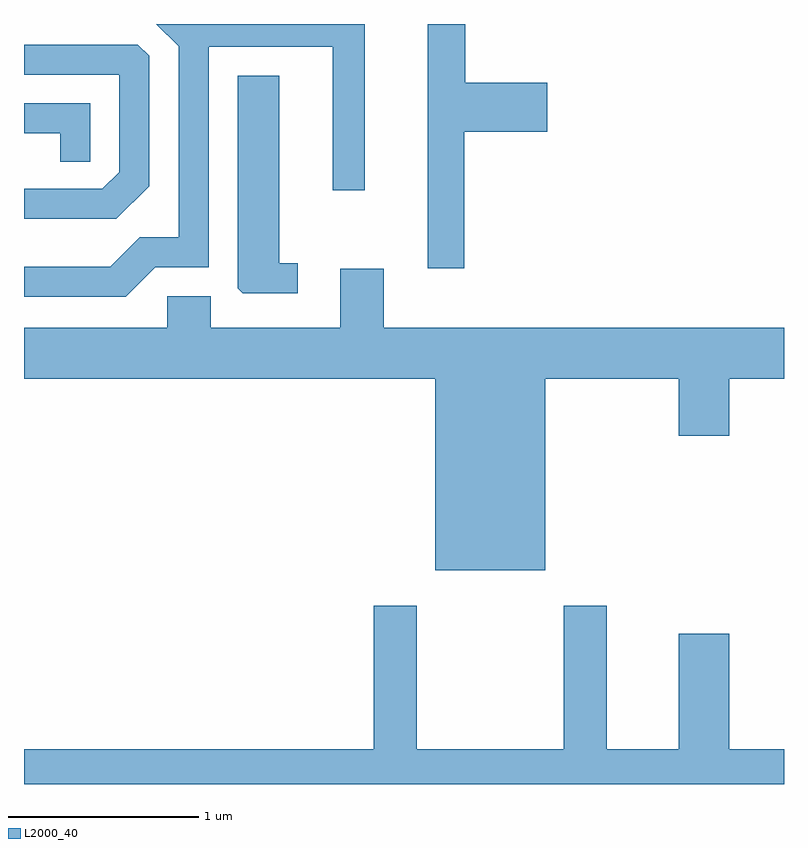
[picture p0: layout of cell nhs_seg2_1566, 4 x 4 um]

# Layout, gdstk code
import gdstk
lib = gdstk.Library(unit=1e-6, precision=1e-09)
def P(c, l, *ps):  # polygons
    for p in ps: c.add(gdstk.Polygon(p, *l))
L2000_40 = (2000, 40)

nhs_seg2_1566 = lib.new_cell('nhs_seg2_1566')
P(nhs_seg2_1566, L2000_40, [(233.929,985.236),(234.364,985.236),(234.364,985.494),(233.934,985.494),(233.934,985.802),(233.736,985.802),(233.736,984.516),(233.929,984.516)],
  [(232.302,984.521),(232.584,984.521),(232.584,985.681),(233.236,985.681),(233.236,984.928),(233.404,984.928),(233.404,985.802),(232.308,985.802),(232.426,985.684),(232.426,984.679),(232.219,984.679),(232.064,984.524),(231.611,984.524),(231.611,984.366),(232.147,984.366)],
  [(232.269,984.949),(232.269,985.634),(232.209,985.694),(231.611,985.694),(231.611,985.536),(232.111,985.536),(232.111,985.022),(232.024,984.934),(231.611,984.934),(231.611,984.776),(232.097,984.776)],
  [(233.053,984.544),(232.954,984.544),(232.954,985.529),(232.736,985.529),(232.736,984.412),(232.762,984.386),(233.053,984.386)],
  [(231.959,985.384),(231.611,985.384),(231.611,985.226),(231.801,985.226),(231.801,985.078),(231.959,985.078)],
  [(234.354,983.936),(235.056,983.936),(235.056,983.636),(235.324,983.636),(235.324,983.936),(235.611,983.936),(235.611,984.204),(233.504,984.204),(233.504,984.514),(233.276,984.514),(233.276,984.204),(232.594,984.204),(232.594,984.369),(232.366,984.369),(232.366,984.204),(231.611,984.204),(231.611,983.936),(233.776,983.936),(233.776,982.926),(234.354,982.926)],
  [(235.611,981.984),(235.324,981.984),(235.324,982.594),(235.056,982.594),(235.056,981.984),(234.679,981.984),(234.679,982.739),(234.451,982.739),(234.451,981.984),(233.679,981.984),(233.679,982.739),(233.451,982.739),(233.451,981.984),(231.611,981.984),(231.611,981.802),(235.611,981.802)])

lib.write_gds('nhs_seg2_1566.gds')
